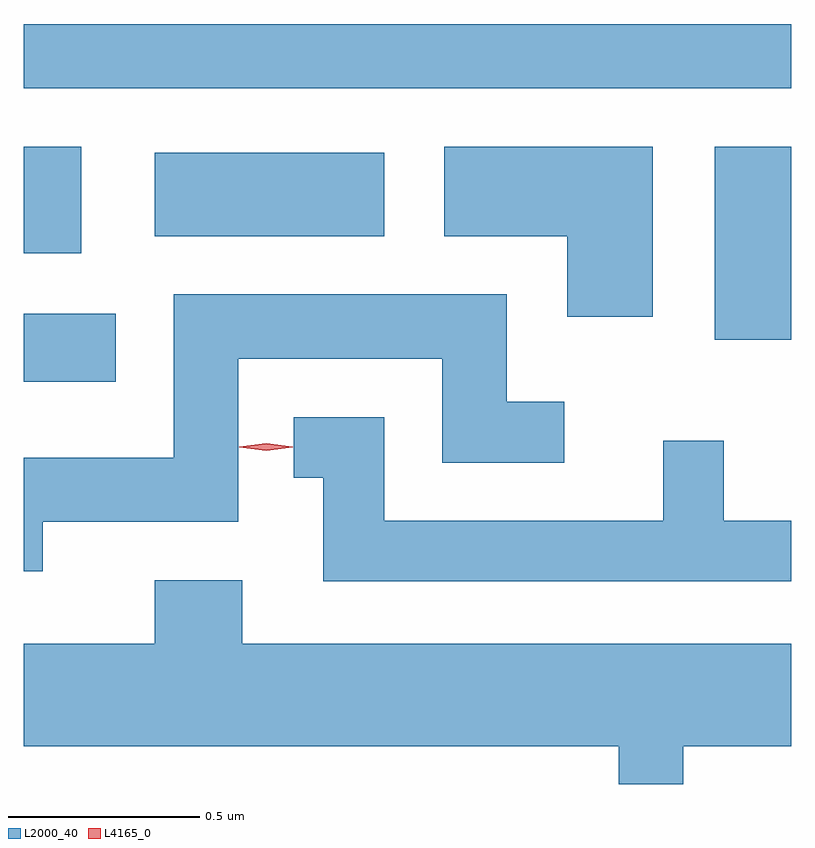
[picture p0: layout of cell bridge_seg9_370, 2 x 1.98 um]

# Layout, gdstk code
import gdstk
lib = gdstk.Library(unit=1e-6, precision=1e-09)
def R(c, l, rs):  # rectangles x0, y0, x1, y1
    for r in rs: c.add(gdstk.rectangle(r[:2], r[2:], *l))
def P(c, l, *ps):  # polygons
    for p in ps: c.add(gdstk.Polygon(p, *l))
L2000_40 = (2000, 40)
L4165_0 = (4165, 0)

bridge_seg9_370 = lib.new_cell('bridge_seg9_370')
R(bridge_seg9_370, L2000_40, [(762.88,1986.106,763.119,1986.284), (764.681,1986.216,764.88,1986.719), (762.88,1986.441,763.029,1986.719), (763.221,1986.486,763.819,1986.704), (762.88,1986.871,764.88,1987.039)])
P(bridge_seg9_370, L2000_40, [(764.519,1986.719),(763.976,1986.719),(763.976,1986.486),(764.296,1986.486),(764.296,1986.276),(764.519,1986.276)],
  [(762.929,1985.741),(763.439,1985.741),(763.439,1986.166),(763.971,1986.166),(763.971,1985.896),(764.288,1985.896),(764.288,1986.054),(764.139,1986.054),(764.139,1986.334),(763.271,1986.334),(763.271,1985.909),(762.88,1985.909),(762.88,1985.613),(762.929,1985.613)],
  [(764.88,1985.744),(764.704,1985.744),(764.704,1985.953),(764.546,1985.953),(764.546,1985.744),(763.819,1985.744),(763.819,1986.014),(763.583,1986.014),(763.583,1985.856),(763.661,1985.856),(763.661,1985.586),(764.88,1985.586)],
  [(764.599,1985.156),(764.88,1985.156),(764.88,1985.424),(763.449,1985.424),(763.449,1985.589),(763.221,1985.589),(763.221,1985.424),(762.88,1985.424),(762.88,1985.156),(764.431,1985.156),(764.431,1985.058),(764.599,1985.058)])
P(bridge_seg9_370, L4165_0, [(763.512,1985.926),(763.442,1985.936),(763.442,1985.937),(763.442,1985.937),(763.512,1985.946),(763.581,1985.937),(763.581,1985.936),(763.581,1985.936)])

lib.write_gds('bridge_seg9_370.gds')
